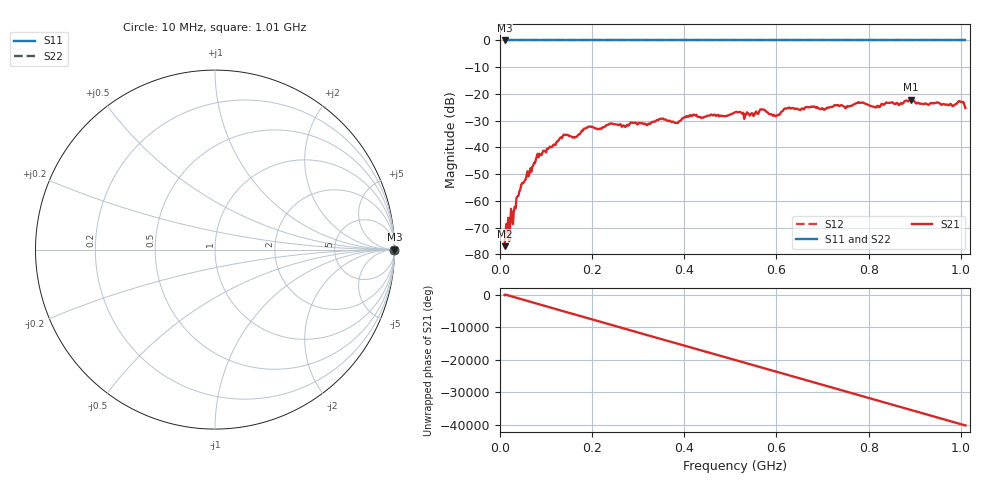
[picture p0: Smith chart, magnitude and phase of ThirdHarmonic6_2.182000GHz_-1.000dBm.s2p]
! 8/17/2025 2:01:38 AM
! C:\ANRITSUVNA\TEMP\TEMP.S2P
! CHANNEL.1
! TR.MEASUREMENT
! RAW.DATA
! RF.CORRECTION.OFF
! AVERAGING.OFF
! IF.BANDWIDTH: 5KHZ
! SWEEPTYPE:  FREQ.SWEEP(Linear)
! Reference Plane Port Info
! PORT:  PORT1  PORT2
! DISTANCE:  0  m  0  m
! TIME:  0  s  0  s
! PHASE.OFFSET:  0  deg.  0  deg.
! LOSS:  0  dB  0  dB
! REF.LOSS:  0  dB  0  dB
! REF.FREQ:  0  Hz  0  Hz
! Power Info
! POWER:  -20  dBm  -20  dBm
! EFF.POWER:  -20  dBm  -20  dBm
! SOURCE.ATTEN:  0  dB  0  dB
! TEST.ATTEN:  0  dB  0  dB
# GHZ S RI R 50.0
! FREQ.GHZ  S11RE  S11IM  S21RE  S21IM  S12RE  S12IM  S22RE  S22IM
!; PortSelection: Port_12
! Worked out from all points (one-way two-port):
!   501 points, 10 MHz to 1.01 GHz, reference 50 ohm
!   highest |S21| = -22.17 dB at 892 MHz (marker M1); lowest = -77.0 dB at 10 MHz (marker M2)
!   lowest |S11| = 0.0 dB at 10 MHz (marker M3)
!   |S11| at or under -10 dB: nowhere
!   |S22| runs from 0.0 to 0.0 dB; largest |S21 - S12| = 1.1
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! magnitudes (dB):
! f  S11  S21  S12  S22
! 10 MHz  0.0  -77.0  0.0  0.0
! 14 MHz  0.0  -68.6  0.0  0.0
! 24 MHz  0.0  -63.0  0.0  0.0
! 46 MHz  0.0  -54.1  0.0  0.0
! 82 MHz  0.0  -42.4  0.0  0.0
! 140 MHz  0.0  -35.2  0.0  0.0
! 162 MHz  0.0  -36.4  0.0  0.0
! 178 MHz  0.0  -33.7  0.0  0.0
! 344 MHz  0.0  -29.7  0.0  0.0
! 382 MHz  0.0  -30.8  0.0  0.0
! 416 MHz  0.0  -28.3  0.0  0.0
! 510 MHz  0.0  -26.9  0.0  0.0
! 548 MHz  0.0  -27.3  0.0  0.0
! 570 MHz  0.0  -25.9  0.0  0.0
! 600 MHz  0.0  -28.2  0.0  0.0
! 622 MHz  0.0  -25.5  0.0  0.0
! 678 MHz  0.0  -24.9  0.0  0.0
! 844 MHz  0.0  -23.4  0.0  0.0
! 892 MHz  0.0  -22.2  0.0  0.0
! 984 MHz  0.0  -24.5  0.0  0.0
! 1 GHz  0.0  -23.0  0.0  0.0
! 1.01 GHz  0.0  -25.3  0.0  0.0
